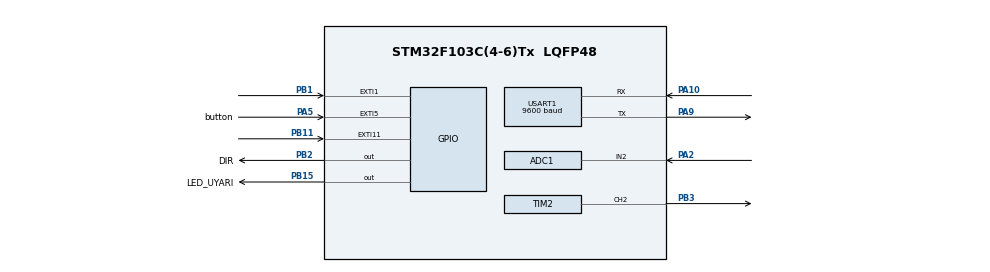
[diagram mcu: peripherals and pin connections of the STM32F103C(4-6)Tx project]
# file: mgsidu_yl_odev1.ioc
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ADC1.Channel-0\#ChannelRegularConversion=ADC_CHANNEL_2
ADC1.NbrOfConversionFlag=1
ADC1.Rank-0\#ChannelRegularConversion=1
ADC1.SamplingTime-0\#ChannelRegularConversion=ADC_SAMPLETIME_1CYCLE_5
ADC1.master=1
Mcu.Family=STM32F1
Mcu.Name=STM32F103C(4-6)Tx
Mcu.Package=LQFP48
NVIC.PriorityGroup=NVIC_PRIORITYGROUP_4
NVIC.TIM3_IRQn=true\:0\:0\:false\:false\:true\:true\:true\:true
PA10.Mode=Asynchronous
PA10.Signal=USART1_RX
PA2.Signal=ADCx_IN2
PA5.GPIO_Label=button
PA5.Signal=GPXTI5
PA9.Mode=Asynchronous
PA9.Signal=USART1_TX
PB1.Signal=GPXTI1
PB11.Signal=GPXTI11
PB15.GPIO_Label=LED_UYARI
PB15.Signal=GPIO_Output
PB2.GPIO_Label=DIR
PB2.Signal=GPIO_Output
PB3.Signal=S_TIM2_CH2
ProjectManager.HeapSize=0x200
ProjectManager.StackSize=0x400
ProjectManager.TargetToolchain=STM32CubeIDE
RCC.APB1Freq_Value=8000000
RCC.APB2Freq_Value=8000000
SH.ADCx_IN2.0=ADC1_IN2,IN2
SH.S_TIM2_CH2.0=TIM2_CH2,PWM Generation2 CH2
TIM2.Channel-PWM\ Generation2\ CH2=TIM_CHANNEL_2
TIM3.Period=49
TIM3.Prescaler=7999
USART1.BaudRate=9600
USART1.VirtualMode=VM_ASYNC
VP_TIM3_VS_ClockSourceINT.Mode=Internal
board=custom

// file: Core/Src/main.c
/* USER CODE BEGIN Header */
/**
  ******************************************************************************
  * @file           : main.c
  * @brief          : Main program body
  ******************************************************************************
  * @attention
  *
  * Copyright (c) 2026 STMicroelectronics.
  * All rights reserved.
  *
  * This software is licensed under terms that can be found in the LICENSE file
  * in the root directory of this software component.
  * If no LICENSE file comes with this software, it is provided AS-IS.
  *
  ******************************************************************************
  */
/* USER CODE END Header */
#include "main.h"

/* USER CODE BEGIN Includes */
#include "stdio.h"
#include "math.h"
#include<string.h>

/* USER CODE END Includes */

/* USER CODE BEGIN PD */
#define ADC_RESOLITON 4095 //  basınç sensörü için max değer (2^12-1)=4095 -- 12-bit ADC max değeri
#define ADC_VOLTAGE_RANGE 5.0f //proteus simülasyonundaki ADC referans voltajı -- basınç sensörü için - 5Volt
#define PRESSURE_MIN 0.0 // Minimum basınç - 0 kPa
#define VOLTAGE_MIN 0.26 //Sensörün 0 kPa'daki çıkış voltajı - 0,26V
#define PRESSURE_MAX 250.0f //Maksimum basınç kPa - 250 kPa
#define VOLTAGE_MAX 4.87  //Sensörün 250 kPa'daki çıkış voltajı - 4,87V
#define OVER_PRESSURE_LIMIT 200.0f // Kritik Aşırı Basınç Eşiği (200 kPa)

/*Message String*/
#define MSG_EMERGENCY "EMERGENCY STOP ACTIVATED \n\r"	//kesme aktifleştiğinde seri monitörde görülecek mesaj
#define MSG_OVER_PRESSURE "WARNING: OVER PRESSURE LIMIT EXCEEDED! \n\r"	//kritik aşırı basınç eşiğine ulaşıldığında seri monitörde görülecek mesaj

/* USER CODE END PD */

ADC_HandleTypeDef hadc1;

TIM_HandleTypeDef htim2;
TIM_HandleTypeDef htim3;

UART_HandleTypeDef huart1;

/* USER CODE BEGIN PV */
char uartMsg[50]; //UART mesaj bufferı
volatile uint32_t pwm_pulse = 0; // Motor hızını belirleyen PWM karşılaştırma değerini tutacak
volatile uint8_t emergency_flag = 0; // Acil stop durum bayrağı
volatile uint8_t timer_flag = 0; // TIM3 her 50 ms'de bu bayrağı set edecek
float water_level_cm = 0.0f; // Hesaplanan su seviyesi (cm)
volatile uint8_t over_pressure_msg_sent = 0; // Aşım olduğunda mesajın 1 kez atılmasını sağlayacak
/* USER CODE END PV */

void SystemClock_Config(void);
static void MX_GPIO_Init(void);
static void MX_ADC1_Init(void);
static void MX_USART1_UART_Init(void);
static void MX_TIM2_Init(void);
static void MX_TIM3_Init(void);

/* USER CODE BEGIN 0 */

// Buton Dış Kesmesi (Acil Stop)
void HAL_GPIO_EXTI_Callback(uint16_t GPIO_Pin)
{

	    if (HAL_GPIO_ReadPin(GPIOA, GPIO_PIN_5) == GPIO_PIN_RESET)	//eğer butona basıldıysa -- devre ters mantık çalıştığından ötürü set değil reset olarak kodlandı
	    {
	      emergency_flag = 1; // Acil durum aktif

	      HAL_GPIO_WritePin(LED_UYARI_GPIO_Port, LED_UYARI_Pin, GPIO_PIN_SET);	//uyarı ledi yandı

	      // 1. PWM sinyalini donanımsal olarak anında kes, yani motoru durdur-- devre ters çalıştığından ötürü 0 değil max değer olan 65535 değeri verildi
	      pwm_pulse = 65535;
	      __HAL_TIM_SET_COMPARE(&htim2, TIM_CHANNEL_2, 65535);

	      HAL_UART_Transmit(&huart1, (uint8_t*)MSG_EMERGENCY, strlen(MSG_EMERGENCY), 100);	//mesaj gönderildi
	    }
	    else // Buton bırakıldıysa
	    {
	      emergency_flag = 0; // Normal moda geç
	      HAL_GPIO_WritePin(LED_UYARI_GPIO_Port, LED_UYARI_Pin, GPIO_PIN_RESET);	//ledi söndür

	    }
}

//TIM3 her 50 ms'de bir bayrağı set eder
void HAL_TIM_PeriodElapsedCallback(TIM_HandleTypeDef *htim)
{
	if (htim->Instance == TIM3)
	{
	  timer_flag = 1;
	}
}

/* USER CODE END 0 */

int main(void)
{
  /* USER CODE BEGIN 1 */

	  float sensitivity = (PRESSURE_MAX-PRESSURE_MIN)/(VOLTAGE_MAX-VOLTAGE_MIN);	//duyarlılık: 1 Volt değişim başına düşen basınç miktarı hesaplanıyor kPa/V
	  float offset      = VOLTAGE_MIN -(sensitivity*VOLTAGE_MIN);	//offset: Vmin kadar kayma düzeltir
	  float resoluyion  = ADC_VOLTAGE_RANGE/ADC_RESOLITON;	//çözünürlük: 1 ADC adımı başına düşen voltaj miktarını hesaplıyoruz 5V/4095
  /* USER CODE END 1 */

  /* MCU Configuration--------------------------------------------------------*/

  /* Reset of all peripherals, Initializes the Flash interface and the Systick. */
  HAL_Init();

  /* Configure the system clock */
  SystemClock_Config();

  /* Initialize all configured peripherals */
  MX_GPIO_Init();
  MX_ADC1_Init();
  MX_USART1_UART_Init();
  MX_TIM2_Init();
  MX_TIM3_Init();
  /* USER CODE BEGIN 2 */

  // Motor Yön Pinini Hazırla
    HAL_GPIO_WritePin(DIR_GPIO_Port, DIR_Pin, GPIO_PIN_RESET);

    // Sıçramayı önlemek için İLK AÇILIŞ SIFIRLAMASI & İLK ADC OKUMASI
    HAL_ADC_Start(&hadc1);
    if (HAL_ADC_PollForConversion(&hadc1, 100) == HAL_OK)
    {
      int first_adc = HAL_ADC_GetValue(&hadc1);

      float pressure_KPa = (first_adc * resoluyion * sensitivity) + offset;
      if (pressure_KPa < 0.0f) pressure_KPa = 0.0f;
      if (pressure_KPa > PRESSURE_MAX) pressure_KPa = PRESSURE_MAX;

      // Su seviyesi hesabı: P = rho * g * h  -->  h = P / 9.81
      water_level_cm = (pressure_KPa / 9.81f) * 100.0f;

      // İlk doğru PWM değerini hesapla
      pwm_pulse = (uint32_t)((pressure_KPa / PRESSURE_MAX) * 65535.0f);
    }
    HAL_ADC_Stop(&hadc1);

    //Hesaplanan İLK doğru değeri Timer Register'ına ÖNDEN yükle
    __HAL_TIM_SET_COMPARE(&htim2, TIM_CHANNEL_2, pwm_pulse);

    // PWM ve TIM3 Kesmesini ŞİMDİ Başlat (Sıçrama tamamen engellenecek)
    HAL_TIM_PWM_Start(&htim2, TIM_CHANNEL_2);

    // TIM3 kesmesini aç ve 50 ms'lik zamanlayıcıyı başlat
     HAL_NVIC_SetPriority(TIM3_IRQn, 1, 0); // EXTI (0) her zaman daha öncelikli
     HAL_NVIC_EnableIRQ(TIM3_IRQn);
     HAL_TIM_Base_Start_IT(&htim3);

  /* USER CODE END 2 */

  /* Infinite loop */
  while (1)
  {

    /* USER CODE BEGIN 3 */

	  //Sadece TIM3'ten 50 ms geldiğinde çalış
	  	  if (timer_flag == 1)
	  	  {
	  	    timer_flag = 0;

	  	    // Sadece Acil Durum YOKSA normal okuma ve motor sürme işlemini yap
	  	      if (emergency_flag == 0)
	  	      {
	  	        HAL_ADC_Start(&hadc1);

	  	        if (HAL_ADC_PollForConversion(&hadc1, 100) == HAL_OK)
	  	        {
	  	          int adc_value = HAL_ADC_GetValue(&hadc1);

	  	          float pressure_KPa = (adc_value * resoluyion * sensitivity) + offset;
	  	          if (pressure_KPa < 0.0f) pressure_KPa = 0.0f;
	  	          if (pressure_KPa > PRESSURE_MAX) pressure_KPa = PRESSURE_MAX;

	  	         water_level_cm = (pressure_KPa / 9.81f) * 100.0f;

	  	       // Kritik Aşırı Basınç Kontrolü (200 kPa Eşiği)
	  	       if (pressure_KPa >= OVER_PRESSURE_LIMIT)
	  	       {
	  	         // kritik aşırı basınç değerinin üzerindeysek motoru durdur ve LED'i yak
	  	         pwm_pulse = 65535;
	  	         __HAL_TIM_SET_COMPARE(&htim2, TIM_CHANNEL_2, 65535);
	  	         HAL_GPIO_WritePin(GPIOB, GPIO_PIN_15, GPIO_PIN_SET);

	  	         // Eğer mesaj daha önce gönderilmediyse SADECE 1 KEZ gönder
	  	         if (over_pressure_msg_sent == 0)
	  	         {
	  	           HAL_UART_Transmit(&huart1, (uint8_t*)MSG_OVER_PRESSURE, strlen(MSG_OVER_PRESSURE), 100);
	  	           over_pressure_msg_sent = 1; // Bayrağı kaldır, tekrar mesaj atılmasını engelle
	  	         }
	  	       }
	  	       else
	  	       {
	  	         // Normal Basınç: Anlık PWM değerini hesapla ve motora yükle
	  	         pwm_pulse = (uint32_t)((pressure_KPa / PRESSURE_MAX) * 65535.0f);
	  	         __HAL_TIM_SET_COMPARE(&htim2, TIM_CHANNEL_2, pwm_pulse);
	  	         HAL_GPIO_WritePin(GPIOB, GPIO_PIN_15, GPIO_PIN_RESET);

	  	         // Basınç normale döndüğü için bayrağı sıfırla (Bir sonraki aşımda tekrar mesaj atabilsin)
	  	         over_pressure_msg_sent = 0;
	  	       }
	  	      }
	  	         HAL_ADC_Stop(&hadc1);
	  	     }
	  	  }

	  	  __WFI(); // kesme gelene kadar işlemci uyur

	    }
  /* USER CODE END 3 */
}

void SystemClock_Config(void)
{
  RCC_OscInitTypeDef RCC_OscInitStruct = {0};
  RCC_ClkInitTypeDef RCC_ClkInitStruct = {0};
  RCC_PeriphCLKInitTypeDef PeriphClkInit = {0};

  /** Initializes the RCC Oscillators according to the specified parameters
  * in the RCC_OscInitTypeDef structure.
  */
  RCC_OscInitStruct.OscillatorType = RCC_OSCILLATORTYPE_HSI;
  RCC_OscInitStruct.HSIState = RCC_HSI_ON;
  RCC_OscInitStruct.HSICalibrationValue = RCC_HSICALIBRATION_DEFAULT;
  RCC_OscInitStruct.PLL.PLLState = RCC_PLL_NONE;
  if (HAL_RCC_OscConfig(&RCC_OscInitStruct) != HAL_OK)
  {
    Error_Handler();
  }

  /** Initializes the CPU, AHB and APB buses clocks
  */
  RCC_ClkInitStruct.ClockType = RCC_CLOCKTYPE_HCLK|RCC_CLOCKTYPE_SYSCLK
                              |RCC_CLOCKTYPE_PCLK1|RCC_CLOCKTYPE_PCLK2;
  RCC_ClkInitStruct.SYSCLKSource = RCC_SYSCLKSOURCE_HSI;
  RCC_ClkInitStruct.AHBCLKDivider = RCC_SYSCLK_DIV1;
  RCC_ClkInitStruct.APB1CLKDivider = RCC_HCLK_DIV1;
  RCC_ClkInitStruct.APB2CLKDivider = RCC_HCLK_DIV1;

  if (HAL_RCC_ClockConfig(&RCC_ClkInitStruct, FLASH_LATENCY_0) != HAL_OK)
  {
    Error_Handler();
  }
  PeriphClkInit.PeriphClockSelection = RCC_PERIPHCLK_ADC;
  PeriphClkInit.AdcClockSelection = RCC_ADCPCLK2_DIV2;
  if (HAL_RCCEx_PeriphCLKConfig(&PeriphClkInit) != HAL_OK)
  {
    Error_Handler();
  }
}

static void MX_ADC1_Init(void)
{

  ADC_ChannelConfTypeDef sConfig = {0};

  /* USER CODE BEGIN ADC1_Init 1 */
  __HAL_RCC_ADC1_CLK_ENABLE();
  /* USER CODE END ADC1_Init 1 */

  /** Common config
  */
  hadc1.Instance = ADC1;
  hadc1.Init.ScanConvMode = ADC_SCAN_DISABLE;
  hadc1.Init.ContinuousConvMode = DISABLE;
  hadc1.Init.DiscontinuousConvMode = DISABLE;
  hadc1.Init.ExternalTrigConv = ADC_SOFTWARE_START;
  hadc1.Init.DataAlign = ADC_DATAALIGN_RIGHT;
  hadc1.Init.NbrOfConversion = 1;
  if (HAL_ADC_Init(&hadc1) != HAL_OK)
  {
    Error_Handler();
  }

  /** Configure Regular Channel
  */
  sConfig.Channel = ADC_CHANNEL_2;
  sConfig.Rank = ADC_REGULAR_RANK_1;
  sConfig.SamplingTime = ADC_SAMPLETIME_1CYCLE_5;
  if (HAL_ADC_ConfigChannel(&hadc1, &sConfig) != HAL_OK)
  {
    Error_Handler();
  }

}

static void MX_TIM2_Init(void)
{

  TIM_MasterConfigTypeDef sMasterConfig = {0};
  TIM_OC_InitTypeDef sConfigOC = {0};

  htim2.Instance = TIM2;
  htim2.Init.Prescaler = 0;
  htim2.Init.CounterMode = TIM_COUNTERMODE_UP;
  htim2.Init.Period = 65535;
  htim2.Init.ClockDivision = TIM_CLOCKDIVISION_DIV1;
  htim2.Init.AutoReloadPreload = TIM_AUTORELOAD_PRELOAD_DISABLE;
  if (HAL_TIM_PWM_Init(&htim2) != HAL_OK)
  {
    Error_Handler();
  }
  sMasterConfig.MasterOutputTrigger = TIM_TRGO_RESET;
  sMasterConfig.MasterSlaveMode = TIM_MASTERSLAVEMODE_DISABLE;
  if (HAL_TIMEx_MasterConfigSynchronization(&htim2, &sMasterConfig) != HAL_OK)
  {
    Error_Handler();
  }
  sConfigOC.OCMode = TIM_OCMODE_PWM1;
  sConfigOC.Pulse = 0;
  sConfigOC.OCPolarity = TIM_OCPOLARITY_HIGH;
  sConfigOC.OCFastMode = TIM_OCFAST_DISABLE;
  if (HAL_TIM_PWM_ConfigChannel(&htim2, &sConfigOC, TIM_CHANNEL_2) != HAL_OK)
  {
    Error_Handler();
  }
  HAL_TIM_MspPostInit(&htim2);

}

static void MX_TIM3_Init(void)
{

  TIM_ClockConfigTypeDef sClockSourceConfig = {0};
  TIM_MasterConfigTypeDef sMasterConfig = {0};

  htim3.Instance = TIM3;
  htim3.Init.Prescaler = 7999;
  htim3.Init.CounterMode = TIM_COUNTERMODE_UP;
  htim3.Init.Period = 49;
  htim3.Init.ClockDivision = TIM_CLOCKDIVISION_DIV1;
  htim3.Init.AutoReloadPreload = TIM_AUTORELOAD_PRELOAD_DISABLE;
  if (HAL_TIM_Base_Init(&htim3) != HAL_OK)
  {
    Error_Handler();
  }
  sClockSourceConfig.ClockSource = TIM_CLOCKSOURCE_INTERNAL;
  if (HAL_TIM_ConfigClockSource(&htim3, &sClockSourceConfig) != HAL_OK)
  {
    Error_Handler();
  }
  sMasterConfig.MasterOutputTrigger = TIM_TRGO_RESET;
  sMasterConfig.MasterSlaveMode = TIM_MASTERSLAVEMODE_DISABLE;
  if (HAL_TIMEx_MasterConfigSynchronization(&htim3, &sMasterConfig) != HAL_OK)
  {
    Error_Handler();
  }

}

static void MX_USART1_UART_Init(void)
{

  huart1.Instance = USART1;
  huart1.Init.BaudRate = 9600;
  huart1.Init.WordLength = UART_WORDLENGTH_8B;
  huart1.Init.StopBits = UART_STOPBITS_1;
  huart1.Init.Parity = UART_PARITY_NONE;
  huart1.Init.Mode = UART_MODE_TX_RX;
  huart1.Init.HwFlowCtl = UART_HWCONTROL_NONE;
  huart1.Init.OverSampling = UART_OVERSAMPLING_16;
  if (HAL_UART_Init(&huart1) != HAL_OK)
  {
    Error_Handler();
  }

}

static void MX_GPIO_Init(void)
{
  GPIO_InitTypeDef GPIO_InitStruct = {0};
/* USER CODE BEGIN MX_GPIO_Init_1 */

  /* GPIO Port Saatlerini Aktifleştir */
  __HAL_RCC_GPIOA_CLK_ENABLE();
  __HAL_RCC_GPIOB_CLK_ENABLE();

  /* Çıkış Pin Seviyelerini Sıfırla (PB2: DIR, PB15: LED) */
   HAL_GPIO_WritePin(GPIOB, DIR_Pin | GPIO_PIN_15, GPIO_PIN_RESET);

  /* PA2 Pinini Analog Giriş Olarak Yapılandır (Basınç Sensörü) */
    GPIO_InitStruct.Pin = GPIO_PIN_2;
    GPIO_InitStruct.Mode = GPIO_MODE_ANALOG;
    HAL_GPIO_Init(GPIOA, &GPIO_InitStruct);

    /* PB2 & PB15 Pinlerini Çıkış Yap (PB2: DIR, PB15: Uyarı LED'i) */
      GPIO_InitStruct.Pin = DIR_Pin | GPIO_PIN_15;
      GPIO_InitStruct.Mode = GPIO_MODE_OUTPUT_PP;
      GPIO_InitStruct.Pull = GPIO_NOPULL;
      GPIO_InitStruct.Speed = GPIO_SPEED_FREQ_LOW;
      HAL_GPIO_Init(GPIOB, &GPIO_InitStruct);

    /* PA5: Acil Stop Butonu (EXTI Kesmesi - Pull-Up Modu) */
    GPIO_InitStruct.Pin = GPIO_PIN_5;
    GPIO_InitStruct.Mode = GPIO_MODE_IT_RISING_FALLING;
    GPIO_InitStruct.Pull = GPIO_PULLUP;
    HAL_GPIO_Init(GPIOA, &GPIO_InitStruct);

    /* EXTI Line 5..9 Kesmesini Aktif Et ve Öncelik Ver */
    HAL_NVIC_SetPriority(EXTI9_5_IRQn, 0, 0);
    HAL_NVIC_EnableIRQ(EXTI9_5_IRQn);

/* USER CODE END MX_GPIO_Init_2 */
}

void Error_Handler(void)
{
  __disable_irq();
  while (1)
  {
  }
}
